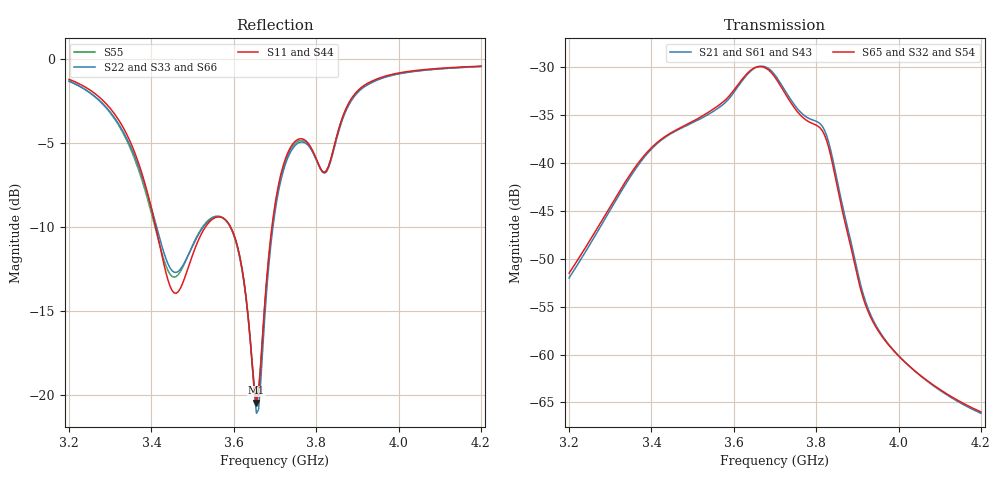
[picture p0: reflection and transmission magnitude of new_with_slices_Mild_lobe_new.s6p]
! Touchstone file exported from HFSS 2024.2.0
!  File:  D:/Jatin/new_with_slices.aedt
!  Generated:  01:09:27 AM Oct  4, 2026
!  Design:  Mild_lobe
!  Project:  new_with_slices
!  Setup:  Setup1
!  Solution:  Sweep
! Variables:
!  $L = 85mm
!  $W = 35mm
!  H = 1.575mm
!  L = 42mm
!  W = 35mm
!  Wb = 6mm
!  a = 3.5mm
!  ant_dist = 115mm
!  ant_gap = 3mm
!  b = 5mm
!  c = 5mm
!  d = 2mm
!  e_S1 = 0mm
!  e_S2 = 7.5mm
!  e_S3 = 11.5mm
!  e_S4 = 0mm
!  e_S5 = 11.5mm
!  e_S6 = 7.5mm
!  g1 = 2mm
!  g2 = 2mm
!  g3 = 1mm
!  g4 = 2mm
!  gap = 10mm
!  r1 = 3.5mm
!  r2 = 6mm
!  r_brain = 95mm
!  r_brain_ad = 61.68mm
!  r_csf = 95.5mm
!  r_csf_expanded = 64.6mm
!  r_csf_inner = 61.68mm
!  r_csf_outer = 83.5mm
!  r_fat = 87.5mm
!  r_gray = 70.55mm
!  r_gray_healthy = 83mm
!  r_grey_healthy = 83mm
!  r_hip = 17.5mm
!  r_hippo_healthy = 25mm
!  r_skin = 88mm
!  r_skull = 86.5mm
!  r_white = 17.5mm
!  r_white_healthy = 76mm
!  slot_distance = 15mm
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# GHz S MA R 50.000000
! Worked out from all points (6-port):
!   201 points, 3.2 GHz to 4.2 GHz, reference 50 ohm
!   strongest paths, dB at 3.2 GHz, 3.45 GHz, 3.7 GHz, 3.95 GHz, 4.2 GHz:
!     S65: -51.5, -36.8, -31.0, -57.5, -66.0
!     S32: -51.5, -36.9, -31.0, -57.6, -66.1
!     S54: -52.0, -36.7, -31.0, -57.3, -66.0
!     S21: -52.0, -36.9, -30.8, -57.3, -66.1
!     S61: -52.0, -36.9, -30.9, -57.4, -66.1
!     S43: -52.1, -36.7, -31.0, -57.5, -66.1
!   lowest |S11| = -20.4 dB at 3.655 GHz (marker M1), VSWR 1.21, Z = 43.3 - j5.82 ohm
!   |S11| at or under -10 dB: 3.41 GHz to 3.531 GHz (120.6 MHz wide, 3.48 % of centre); 3.592 GHz to 3.693 GHz (100.3 MHz wide, 2.75 % of centre)
